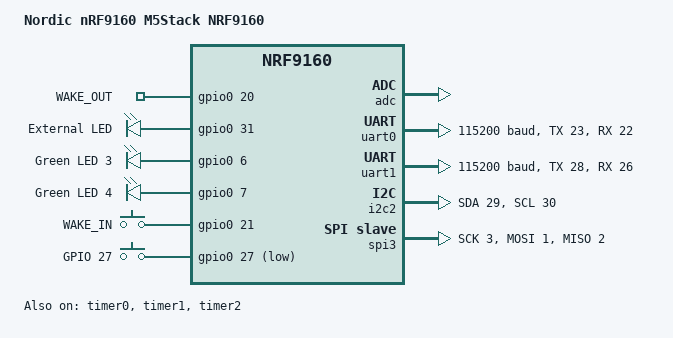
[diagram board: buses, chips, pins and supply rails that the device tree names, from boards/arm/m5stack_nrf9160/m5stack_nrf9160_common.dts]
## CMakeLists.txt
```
#
# Copyright (c) 2020 Nordic Semiconductor
#
# SPDX-License-Identifier: LicenseRef-BSD-5-Clause-Nordic
#

cmake_minimum_required(VERSION 3.13.1)

set(BOARD_ROOT ${CMAKE_SOURCE_DIR})
set(ZEPHYR_EXTRA_MODULES 
    ${CMAKE_SOURCE_DIR}/lib/sipf
)

find_package(Zephyr REQUIRED HINTS $ENV{ZEPHYR_BASE})
project(sipf-nrf91-std)

target_sources(app PRIVATE
    src/main.c
    src/cmd.c
    src/cmd_ascii.c
    src/registers.c
    src/uart_broker.c
    src/xmodem.c
    src/fota/fota_http.c
    src/gnss/gnss.c
)

target_include_directories(app PRIVATE
    include/
)

if(SIPF_ENVIRONMENT STREQUAL "production")
    message("Set -Werror")
    zephyr_library_compile_options("-Werror")
endif()
if(SIPF_ENVIRONMENT STREQUAL "staging")
    message("Set -Werror")
    zephyr_library_compile_options("-Werror")
endif()
```

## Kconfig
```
#
# Copyright (c) 2021 SAKURA internet Inc.
#
# SPDX-License-Identifier: MIT
#

menu "SIPF standard client"

config SIPF_APP_TYPE
	int "Application type"

config SIPF_APP_VER_MAJOR
	int "Application Major version" 

config SIPF_APP_VER_MINOR
	int "Application Minor version" 

config SIPF_APP_VER_RELEASE
	int "Application Release version" 

config SIPF_FOTA_HOST
	string "Application update host name"
	help
	  Host part of URL to application update binary. For example
	  if the file is stored in http://foo.bar/update.bin the value
	  of this configuration should be 'foo.bar'

config SIPF_FOTA_PATH
	string "Application update file name"
	help
	  File part of URL to application update binary. For example
	  if the file is stored in http://foo.bar/update.bin the value
	  of this configuration should be 'update.bin'

config SIPF_FOTA_TLS
	bool "Enable SSL for FOTA client."

endmenu

menu "Zephyr Kernel"
source "Kconfig.zephyr"
endmenu

module = FOTA
module-str = Firmware over the Air
source "subsys/logging/Kconfig.template.log_config"

module = GNSS
module-str = GNSS
source "subsys/logging/Kconfig.template.log_config"
```

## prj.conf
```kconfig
CONFIG_BSD_LIBRARY=y
CONFIG_BSD_LIBRARY_SYS_INIT=n

CONFIG_NEWLIB_LIBC=y
CONFIG_NEWLIB_LIBC_FLOAT_PRINTF=y

CONFIG_NETWORKING=y
CONFIG_NET_SOCKETS=y
CONFIG_NET_SOCKETS_POSIX_NAMES=y
CONFIG_NET_NATIVE=n

CONFIG_HEAP_MEM_POOL_SIZE=4096
CONFIG_MAIN_STACK_SIZE=4096

CONFIG_MODEM_KEY_MGMT=y
CONFIG_LTE_PDP_CMD=y
CONFIG_LTE_LINK_CONTROL=y
CONFIG_AT_CMD=y
CONFIG_AT_NOTIF=y
CONFIG_LTE_AUTO_INIT_AND_CONNECT=n

CONFIG_NRF_MODEM_LIB=y
CONFIG_NRF_MODEM_LIB_SYS_INIT=n

CONFIG_CONSOLE=y
CONFIG_UART_CONSOLE=y

## Modem Info
CONFIG_MODEM_INFO=y
# Reboot
CONFIG_REBOOT=y
# Application Upgrade support
CONFIG_BOOTLOADER_MCUBOOT=y
# FOTA library
CONFIG_FOTA_DOWNLOAD=y
CONFIG_FOTA_DOWNLOAD_PROGRESS_EVT=y
# Download client
CONFIG_DOWNLOAD_CLIENT=y
CONFIG_DOWNLOAD_CLIENT_STACK_SIZE=4096
# DFU Target
CONFIG_DFU_TARGET=y
# Image manager
CONFIG_IMG_MANAGER=y
CONFIG_FLASH=y
CONFIG_IMG_ERASE_PROGRESSIVELY=y

# HTTP
CONFIG_HTTP_CLIENT=y
CONFIG_BASE64=y

# GNSS
CONFIG_SUPL_CLIENT_LIB=n
CONFIG_LTE_NETWORK_MODE_LTE_M_GPS=y

# PMS (Required for GNSS)
CONFIG_LTE_PSM_REQ_RPTAU="00000110"
CONFIG_LTE_PSM_REQ_RAT="00000010"

## Logging ##

CONFIG_LOG=y
CONFIG_LOG_RUNTIME_FILTERING=y
CONFIG_LOG_BUFFER_SIZE=2048
CONFIG_LOG_PRINTK=y
CONFIG_LOG_PROCESS_TRIGGER_THRESHOLD=0
CONFIG_LOG_BACKEND_UART=n
CONFIG_LOG_BACKEND_RTT=y
CONFIG_USE_SEGGER_RTT=y

# Application Log Levels

#CONFIG_SIPF_LOG_LEVEL_DBG=y
#CONFIG_SIPF_LOG_LEVEL_INF=y
CONFIG_SIPF_LOG_LEVEL_ERR=y

#CONFIG_FOTA_LOG_LEVEL_DBG=y
#CONFIG_FOTA_LOG_LEVEL_INF=y
CONFIG_FOTA_LOG_LEVEL_ERR=y

#CONFIG_GNSS_LOG_LEVEL_DBG=y
#CONFIG_GNSS_LOG_LEVEL_INF=y
CONFIG_GNSS_LOG_LEVEL_ERR=y

## SIPF standard client ## 
CONFIG_SIPF_APP_TYPE=0
CONFIG_SIPF_APP_VER_MAJOR=0
CONFIG_SIPF_APP_VER_MINOR=1
CONFIG_SIPF_APP_VER_RELEASE=0

#production
CONFIG_SIPF_AUTH_HOST="auth.sipf.iot.sakura.ad.jp"
CONFIG_SIPF_AUTH_PATH="/v0/session_key"

CONFIG_SIPF_CONNECTOR_HTTP_HOST="connector.sipf.iot.sakura.ad.jp"
CONFIG_SIPF_CONNECTOR_PATH="/v0"

CONFIG_SIPF_FOTA_HOST="ota.sipf.iot.sakura.ad.jp"
CONFIG_SIPF_FOTA_PATH="v0/sipf-std-client_latest.bin"

#develop
#CONFIG_SIPF_AUTH_HOST="auth.sipf-dev.iot.sakura.ad.jp"
#CONFIG_SIPF_AUTH_PATH="/v0/session_key"

#CONFIG_SIPF_CONNECTOR_HTTP_HOST="connector.sipf-dev.iot.sakura.ad.jp"
#CONFIG_SIPF_CONNECTOR_PATH="/v0"

#CONFIG_SIPF_FOTA_HOST="ota.sipf-dev.iot.sakura.ad.jp"
#CONFIG_SIPF_FOTA_PATH="v0/sipf-std-client_latest.bin"
```

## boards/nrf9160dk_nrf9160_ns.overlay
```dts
/ {
	aliases {
		led-hb = &led0;
		led-pw = &led1;
		led-cn = &led2;
		wake-in = &button0;
	};
};
```

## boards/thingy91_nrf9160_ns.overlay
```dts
/ {
	aliases {
		led-hb = &sense_red_led;
		led-pw = &sense_green_led;
		led-cn = &sense_blue_led;
		wake-in = &button0;
	};
};
```

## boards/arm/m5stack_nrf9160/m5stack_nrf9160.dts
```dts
/*
 * Copyright (c) 2018-2020 Nordic Semiconductor ASA
 *
 * SPDX-License-Identifier: Apache-2.0
 */

/dts-v1/;
#include <nordic/nrf9160_sica.dtsi>
#include "m5stack_nrf9160_common.dts"

/ {
	chosen {
		zephyr,sram = &sram0_s;
		zephyr,flash = &flash0;
		zephyr,code-partition = &slot0_partition;
		zephyr,sram-secure-partition = &sram0_s;
		zephyr,sram-non-secure-partition = &sram0_ns;
	};
};
```

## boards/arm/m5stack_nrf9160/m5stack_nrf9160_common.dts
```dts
/*
 * Copyright (c) 2018-2020 Nordic Semiconductor ASA
 *
 * SPDX-License-Identifier: Apache-2.0
 */

/ {
	model = "Nordic nRF9160 M5Stack NRF9160";
	compatible = "nordic,nrf9160-dk-nrf9160";

	chosen {
		zephyr,console = &uart0;
		zephyr,shell-uart = &uart0;
		zephyr,uart-mcumgr = &uart0;
	};

	leds {
		compatible = "gpio-leds";
		led0: led_0 {
			gpios = <&gpio0 20 0>;
			label = "WAKE_OUT";
		};
		led1: led_1 {
			gpios = <&gpio0 31 0>;
			label = "External LED";
		};
		led2: led_2 {
			gpios = <&gpio0 6 0>;
			label = "Green LED 3";
		};
		led3: led_3 {
			gpios = <&gpio0 7 0>;
			label = "Green LED 4";
		};
	};

	buttons {
		compatible = "gpio-keys";
		button0: button_0 {
			gpios = <&gpio0 21 (GPIO_PULL_DOWN | GPIO_ACTIVE_HIGH)>;
			label = "WAKE_IN";
		};
/*
		button1: button_1 {
			gpios = <&gpio0 26 (GPIO_PULL_UP | GPIO_ACTIVE_LOW)>;
			label = "GPIO 26";
		};
*/
		button2: button_2 {
			gpios = <&gpio0 27 (GPIO_PULL_UP | GPIO_ACTIVE_LOW)>;
			label = "GPIO 27";
		};
/*
		button3: button_3 {
			gpios = <&gpio0 28 (GPIO_PULL_UP | GPIO_ACTIVE_LOW)>;
			label = "GPIO 28";
		};
*/
	};

	/* These aliases are provided for compatibility with samples */
	aliases {
		led0 = &led0;
		led1 = &led1;
		led2 = &led2;
		led3 = &led3;
		sw0 = &button2;
/*		sw1 = &button3;*/
		sw2 = &button0;
/*		sw3 = &button1;*/
	};
};

&adc {
	status = "okay";
};

&gpiote {
	status = "okay";
};

&gpio0 {
	status = "okay";
};

&uart0 {
	status = "okay";
	current-speed = <115200>;
	tx-pin = <23>;
	rx-pin = <22>;
	rts-pin = <25>;
	cts-pin = <24>;
};

&uart1 {
	status = "okay";
	current-speed = <115200>;
	tx-pin = <28>;
	rx-pin = <26>;
};

&i2c2 {
	compatible = "nordic,nrf-twis";
	status = "okay";
	sda-pin = <29>;
	scl-pin = <30>;
	address-0 = <0x30>;
};

&spi3 {
	compatible = "nordic,nrf-spis";
	status = "okay";
	sck-pin = <3>;
	mosi-pin = <1>;
	miso-pin = <2>;
	csn-pin = <4>;
	def-char = <0x20>;
};

&timer0 {
	status = "okay";
};

&timer1 {
	status = "okay";
};

&timer2 {
	status = "okay";
};

&flash0 {
	/*
	 * For more information, see:
	 * http://docs.zephyrproject.org/latest/guides/dts/index.html#flash-partitions
	 */
	partitions {
		compatible = "fixed-partitions";
		#address-cells = <1>;
		#size-cells = <1>;

		boot_partition: partition@0 {
			label = "mcuboot";
			reg = <0x00000000 0x10000>;
		};
		slot0_partition: partition@10000 {
			label = "image-0";
		};
		slot0_ns_partition: partition@40000 {
			label = "image-0-nonsecure";
		};
		slot1_partition: partition@80000 {
			label = "image-1";
		};
		slot1_ns_partition: partition@b0000 {
			label = "image-1-nonsecure";
		};
		scratch_partition: partition@f0000 {
			label = "image-scratch";
			reg = <0x000f0000 0xa000>;
		};
		storage_partition: partition@fa000 {
			label = "storage";
			reg = <0x000fa000 0x00006000>;
		};
	};
};

/ {

	reserved-memory {
		#address-cells = <1>;
		#size-cells = <1>;
		ranges;

		sram0_s: image_s@20000000 {
			/* Secure image memory */
		};

		sram0_bsd: image_bsd@20010000 {
			/* BSD (shared) memory */
		};

		sram0_ns: image_ns@20020000 {
			/* Non-Secure image memory */
		};
	};
};

/* Include partition configuration file */
#include "m5stack_nrf9160_partition_conf.dts"
```

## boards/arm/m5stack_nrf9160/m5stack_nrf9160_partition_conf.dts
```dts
/*
 * Copyright (c) 2018-2020 Nordic Semiconductor ASA
 *
 * SPDX-License-Identifier: Apache-2.0
 */

/*
 * Default Flash planning for m5stack_nrf9160.
 *
 * Zephyr build for nRF9160 with ARM TrustZone-M support,
 * implies building Secure and Non-Secure Zephyr images.
 *
 * Secure image will be placed, by default, in flash0
 * (or in slot0, if MCUboot is present).
 * Secure image will use sram0 for system memory.
 *
 * Non-Secure image will be placed in slot0_ns, and use
 * sram0_ns for system memory.
 *
 * Note that the Secure image only requires knowledge of
 * the beginning of the Non-Secure image (not its size).
 */

&slot0_partition {
	reg = <0x00010000 0x30000>;
};

&slot0_ns_partition {
	reg = <0x00040000 0x40000>;
};

&slot1_partition {
	reg = <0x00080000 0x30000>;
};

&slot1_ns_partition {
	reg = <0x000b0000 0x40000>;
};

/* Default SRAM planning when building for nRF9160 with
 * ARM TrustZone-M support
 * - Lowest 64 kB SRAM allocated to Secure image (sram0_s).
 * - 64 kB SRAM reserved for and used by the BSD socket
 *   library (sram0_bsd).
 * - Upper 128 kB allocated to Non-Secure image (sram0_ns).
 */

&sram0_s {
	reg = <0x20000000 DT_SIZE_K(64)>;
};

&sram0_bsd {
	reg = <0x20010000 DT_SIZE_K(64)>;
};

&sram0_ns {
	reg = <0x20020000 DT_SIZE_K(128)>;
};
```

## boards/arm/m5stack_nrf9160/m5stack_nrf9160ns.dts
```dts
/*
 * Copyright (c) 2018-2020 Nordic Semiconductor ASA
 *
 * SPDX-License-Identifier: Apache-2.0
 */

/dts-v1/;
#include <nordic/nrf9160ns_sica.dtsi>
#include "m5stack_nrf9160_common.dts"

/ {
	chosen {
		zephyr,flash = &flash0;
		zephyr,sram = &sram0_ns;
		zephyr,code-partition = &slot0_ns_partition;
	};
};
```

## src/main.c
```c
/*
 * Copyright (c) 2020 Nordic Semiconductor ASA
 *
 * SPDX-License-Identifier: LicenseRef-BSD-5-Clause-Nordic
 */

#include <stdlib.h>
#include <string.h>
#include <zephyr/kernel.h>

#include <nrf_modem_at.h>
#include <modem/at_monitor.h>
#include <modem/lte_lc.h>
#include <modem/modem_info.h>
#include <modem/modem_key_mgmt.h>
#include <modem/nrf_modem_lib.h>
#include <modem/pdn.h>
#include <zephyr/net/socket.h>
#include <zephyr/net/tls_credentials.h>
#include <zephyr/logging/log.h>

#include <zephyr/drivers/gpio.h>
#include <zephyr/sys/reboot.h>

#include "cmd.h"
#include "fota/fota_http.h"
#include "sipf/sipf_client_http.h"
#include "sipf/sipf_auth.h"
#include "gnss/gnss.h"
#include "uart_broker.h"

#include "registers.h"
#include "version.h"

LOG_MODULE_REGISTER(sipf, CONFIG_SIPF_LOG_LEVEL);

/** peripheral **/
#define LED_HEARTBEAT_MS (500)

static const struct gpio_dt_spec LED1 = GPIO_DT_SPEC_GET(DT_ALIAS(led_hb), gpios);
static const struct gpio_dt_spec LED2 = GPIO_DT_SPEC_GET(DT_ALIAS(led_pw), gpios);
static const struct gpio_dt_spec LED3 = GPIO_DT_SPEC_GET(DT_ALIAS(led_cn), gpios);
#ifdef CONFIG_BOARD_SCM_LTEM1NRF_NRF9160_NS
static const struct gpio_dt_spec WAKE_IN = GPIO_DT_SPEC_GET(DT_ALIAS(wake_in), gpios);
#endif
/**********/

/** TLS **/
#define TLS_SEC_TAG 42
static const char cert[] = {
#include "sipf/cert/sipf.iot.sakura.ad.jp"
};
BUILD_ASSERT(sizeof(cert) < KB(4), "Certificate too large");
/*********/

static K_SEM_DEFINE(lte_connected, 0, 1);
static const struct device *uart_dev;

/* Auth info */
#define SZ_USER_NAME (255)
#define SZ_PASSWORD (255)
static char user_name[SZ_USER_NAME];
static char password[SZ_PASSWORD];

/* Initialize AT communications */
int at_comms_init(void)
{
    return 0;
}

#ifdef CONFIG_BOARD_SCM_LTEM1NRF_NRF9160_NS
static struct gpio_callback gpio_cb;

void wake_in_assert(const struct device *gpiob, struct gpio_callback *cb, uint32_t pins)
{
    //リブート要求
    UartBrokerPrint("RESET_REQ_DETECT\r\n");
    sys_reboot(SYS_REBOOT_COLD);
}

static int wake_in_init(void)
{
    int ret;
    ret = gpio_pin_configure_dt(&WAKE_IN, GPIO_INPUT);
    if (ret == 0) {
        gpio_init_callback(&gpio_cb, wake_in_assert, BIT(WAKE_IN.pin));
        ret = gpio_add_callback(WAKE_IN.port, &gpio_cb);
        if (ret == 0) {
            gpio_pin_interrupt_configure_dt(&WAKE_IN, GPIO_INT_EDGE_TO_ACTIVE);
        }
    }

    return 0;
}
#else
static int wake_in_init(void)
{
    return 0;
}
#endif

/** LED **/
static int led_init(void)
{
    int ret;

    /* Initialize LED1  */
	if (!gpio_is_ready_dt(&LED1)) {
		LOG_ERR("LED1 gpio is not ready");
	}
    ret = gpio_pin_configure_dt(&LED1, GPIO_OUTPUT_ACTIVE);
    LOG_DBG("gpio_pin_configure(%d): %d", 1, ret);
    ret = gpio_pin_set_dt(&LED1, 0x00);
    LOG_DBG("gpio_pin_set(%d): %d", 1, ret);

    /* Initialize LED2  */
	if (!gpio_is_ready_dt(&LED2)) {
		LOG_ERR("LED1 gpio is not ready");
	}
    ret = gpio_pin_configure_dt(&LED2, GPIO_OUTPUT_ACTIVE);
    LOG_DBG("gpio_pin_configure(%d): %d", 2, ret);
    ret = gpio_pin_set_dt(&LED2, 0x00);
    LOG_DBG("gpio_pin_set(%d): %d", 2, ret);

    /* Initialize LED3  */
	if (!gpio_is_ready_dt(&LED3)) {
		LOG_ERR("LED1 gpio is not ready");
	}
    ret = gpio_pin_configure_dt(&LED3, GPIO_OUTPUT_ACTIVE);
    LOG_DBG("gpio_pin_configure(%d): %d", 3, ret);
    ret = gpio_pin_set_dt(&LED3, 0x00);
    LOG_DBG("gpio_pin_set(%d): %d", 3, ret);

    return 0;
}

static int led_on(gpio_pin_t pin)
{
    switch(pin) {
        case 1:
            gpio_pin_set_dt(&LED1, 0x01);
            break;
        case 2:
            gpio_pin_set_dt(&LED2, 0x01);
            break;
        case 3:
            gpio_pin_set_dt(&LED3, 0x01);
            break;
        default:
            LOG_ERR("Invald LED %d", pin);
            return 1;
            break;
    }
    return 0;
}

static int led_off(gpio_pin_t pin)
{
    switch(pin) {
        case 1:
            gpio_pin_set_dt(&LED1, 0x00);
            break;
        case 2:
            gpio_pin_set_dt(&LED2, 0x00);
            break;
        case 3:
            gpio_pin_set_dt(&LED3, 0x00);
            break;
        break;
            LOG_ERR("Invald LED %d", pin);
            return 1;
            break;
    }
    return 0;
}

static int led1_toggle(void)
{
    static int val = 0;
    gpio_pin_set_dt(&LED1, val);
    val = (val == 0) ? 1 : 0;
    return 0;
}
/***********/

/** MODEM **/
#define REGISTER_TIMEOUT_MS (120000)
#define REGISTER_TRY (3)

static int cert_provision(void)
{
    int err;
    bool exists;

    err = modem_key_mgmt_exists(TLS_SEC_TAG, MODEM_KEY_MGMT_CRED_TYPE_CA_CHAIN, &exists);
    if (err) {
        LOG_ERR("Failed to check for certificates err %d", err);
        return err;
    }

    if (exists) {
        /* For the sake of simplicity we delete what is provisioned
         * with our security tag and reprovision our certificate.
         */
        err = modem_key_mgmt_delete(TLS_SEC_TAG, MODEM_KEY_MGMT_CRED_TYPE_CA_CHAIN);
        if (err) {
            LOG_ERR("Failed to delete existing certificate, err %d", err);
        }
    }

    LOG_DBG("Provisioning certificate");

    /*  Provision certificate to the modem */
    err = modem_key_mgmt_write(TLS_SEC_TAG, MODEM_KEY_MGMT_CRED_TYPE_CA_CHAIN, cert, sizeof(cert) - 1);
    if (err) {
        LOG_ERR("Failed to provision certificate, err %d", err);
        return err;
    }

    return 0;
}

static void lte_handler(const struct lte_lc_evt *const evt)
{
    LOG_DBG("evt->type=%d", evt->type);
    switch (evt->type) {
    case LTE_LC_EVT_NW_REG_STATUS:
        LOG_DBG("- evt->nw_reg_status=%d\n", evt->nw_reg_status);
        if (evt->nw_reg_status == LTE_LC_NW_REG_SEARCHING) {
            UartBrokerPrint("SEARCHING\r\n");
            break;
        }
        if ((evt->nw_reg_status == LTE_LC_NW_REG_REGISTERED_HOME) || (evt->nw_reg_status == LTE_LC_NW_REG_REGISTERED_ROAMING)) {
            UartBrokerPrint("REGISTERD\r\n");
            k_sem_give(&lte_connected);
            break;
        }
        break;
    case LTE_LC_EVT_CELL_UPDATE:
        LOG_DBG("- mcc=%d, mnc=%d", evt->cell.mcc, evt->cell.mnc);
        break;
    case LTE_LC_EVT_LTE_MODE_UPDATE:
        LOG_DBG("- evt->lte_mode=%d", evt->lte_mode);
        break;
    case LTE_LC_EVT_MODEM_EVENT:
        LOG_DBG("- evt->modem_evt=%d", evt->modem_evt);
        break;
    default:
        break;
    }
}

static int init_modem_and_lte(void)
{
    int err = 0;

    err = nrf_modem_lib_init();
    if (err) {
        LOG_ERR("Failed to initialize modem library!");
        return err;
    }

    /* Initialize AT comms in order to provision the certificate */
    err = at_comms_init();
    if (err) {
        LOG_ERR("Faild to at_comms_init(): %d", err);
        return err;
    }

    /* Provision certificates before connecting to the LTE network */
    err = cert_provision();
    if (err) {
        LOG_ERR("Faild to cert_provision(): %d", err);
        return err;
    }

    err = lte_lc_system_mode_set(LTE_LC_SYSTEM_MODE_LTEM_GPS, LTE_LC_SYSTEM_MODE_PREFER_AUTO);
    if (err) {
        LOG_ERR("Failed to System Mode set.");
        return err;
    }
    LOG_DBG("Setting system mode OK");

    err = nrf_modem_at_printf("AT%%XMAGPIO=1,0,0,1,1,1574,1577");
    if (err != 0) {
        LOG_ERR("Failed to set XMAGPIO, err %d", err);
        return err;
    }
    LOG_DBG("Configure MAGPIO OK");

    err = nrf_modem_at_printf("AT%%XCOEX0=1,1,1565,1586");
    if (err != 0) {
        LOG_ERR("Failed to set XCOEX0, err %d", err);
        return err;
    }
    LOG_DBG("Configure pin OK");

    /* PDN */
    uint8_t cid;
    err = pdn_ctx_create(&cid, NULL);
    if (err != 0) {
        LOG_ERR("Failed to pdn_ctx_create(), err %d", err);
        return err;
    }
    // set APN
    err = pdn_ctx_configure(cid, "sakura", PDN_FAM_IPV4, NULL);
    if (err != 0) {
        LOG_ERR("Failed to pdn_ctx_configure(), err %d", err);
        return err;
    }
    LOG_DBG("Setting APN OK");

    /* CONNECT */
    for (int i = 0; i < REGISTER_TRY; i++) {
        LOG_DBG("Initialize LTE");
        err = lte_lc_init();
        if (err) {
            LOG_ERR("Failed to initializes the modem, err %d", err);
            return err;
        }
        LOG_DBG("Initialize LTE OK");

        lte_lc_modem_events_enable();

        LOG_INF("[%d] Trying to attach to LTE network (TIMEOUT: %d ms)", i, REGISTER_TIMEOUT_MS);
        UartBrokerPrint("Trying to attach to LTE network (TIMEOUT: %d ms)\r\n", REGISTER_TIMEOUT_MS);
        err = lte_lc_connect_async(lte_handler);
        if (err) {
            LOG_ERR("Failed to attatch to the LTE network, err %d", err);
            return err;
        }
        err = k_sem_take(&lte_connected, K_MSEC(REGISTER_TIMEOUT_MS));
        if (err == -EAGAIN) {
            UartBrokerPrint("TIMEOUT\r\n");
            lte_lc_offline();
            lte_lc_deinit();
            continue;
        } else if (err == 0) {
            // connected

            // PSMの設定
            err = lte_lc_psm_req(true);
            if (err) {
                LOG_ERR("PSM request failed, error: %d", err);
            } else {
                LOG_DBG("PSM is enabled");
            }

            // ICCIDの取得
            struct modem_param_info mpi;

            err = modem_info_init();
            if (err == 0) {
                if (modem_info_params_init(&mpi) == 0) {
                    if (modem_info_params_get(&mpi) == 0) {
                        UartBrokerPrint("ICCID: %s\r\n", mpi.sim.iccid.value_string);
                    }
                }
            } else {
                LOG_ERR("modem_info_init() failed, err: %d", err);
            }

            return 0;
        } else {
            //
            return err;
        }
    }

    LOG_ERR("Faild to attach to LTE Network");
    return -1;
}
/**********/

int main(void)
{
    int err;

    int64_t ms_now, ms_timeout;

    // 対ユーザーMUCのレジスタ初期化
    RegistersReset();

    // UartBrokerの初期化(以降、Debug系の出力も可能)
    uart_dev =  DEVICE_DT_GET(DT_NODELABEL(uart0));
    UartBrokerInit(uart_dev);
    UartBrokerPrint("*** SIPF Client(Type%02x) v.%d.%d.%d ***\r\n", *REG_CMN_FW_TYPE, *REG_CMN_VER_MJR, *REG_CMN_VER_MNR, *REG_CMN_VER_REL);
#ifdef CONFIG_LTE_LOCK_PLMN
    UartBrokerPuts("* PLMN: " CONFIG_LTE_LOCK_PLMN_STRING "\r\n");
#endif
#ifdef CONFIG_SIPF_AUTH_DISABLE_SSL
    UartBrokerPuts("* Disable SSL, AUTH endpoint.\r\n");
#endif
#ifdef CONFIG_SIPF_CONNECTOR_DISABLE_SSL
    UartBrokerPuts("* Disable SSL, CONNECTOR endpoint.\r\n");
#endif
    // LEDの初期化
    led_init();
    led_on(2);

    // WAKE_INの初期化
    wake_in_init();

    //モデムの初期化&LTE接続
    err = init_modem_and_lte();
    if (err) {
        LOG_ERR("init_modem_and_lte() failed... err: %d", err);
        led_off(2);
        return -1;
    }

    // GNSSの初期化
    if (gnss_init() != 0) {
        UartBrokerPuts("Failed to initialize GNSS peripheral\r\n");
    }

#if CONFIG_DFU_TARGET_MCUBOOT
    // LTEつながるならOKなFWよね
    boot_write_img_confirmed();
#else
    #error "CONFIG_DFU_TARGET_MCUBOOT is disabled..."
#endif

    // 認証モードをSIM認証にする
    uint8_t b, prev_auth_mode = 0x01;
    *REG_00_MODE = 0x01;

    for (;;) {
        err = SipfAuthRequest(user_name, sizeof(user_name), password, sizeof(user_name));
        LOG_DBG("SipfAuthRequest(): %d", err);
        if (err < 0) {
            // IPアドレス認証に失敗した
            UartBrokerPuts("Set AuthMode to `SIM Auth' faild...(Retry after 10s)\r\n");
            *REG_00_MODE = 0x00; // モードが切り替えられなかった
            k_sleep(K_MSEC(10000));
            continue;
        }
        break;
    }
    err = SipfClientHttpSetAuthInfo(user_name, password);
    if (err < 0) {
        // 認証情報の設定に失敗した
        *REG_00_MODE = 0x00; // モードが切り替えられなかった
    }

    UartBrokerPuts("+++ Ready +++\r\n");
    led_on(3);
    ms_timeout = k_uptime_get() + LED_HEARTBEAT_MS;
    for (;;) {
        while (UartBrokerGetByte(&b) == 0) {
            CmdResponse *cr = CmdParse(b);
            if (cr != NULL) {
                // UARTにレスポンスを返す
                UartBrokerPut(cr->response, cr->response_len);
            }
        }

        // Heart Beat
        ms_now = k_uptime_get();
        if ((ms_timeout - ms_now) < 0) {
            ms_timeout = ms_now + LED_HEARTBEAT_MS;
            led1_toggle();
        }

        if ((*REG_00_MODE == 0x01) && (prev_auth_mode == 0x00)) {
            // 認証モードがIPアドレス認証に切り替えられた
            err = SipfAuthRequest(user_name, sizeof(user_name), password, sizeof(user_name));
            LOG_DBG("SipfAuthRequest(): %d", err);
            if (err < 0) {
                // IPアドレス認証に失敗した
                *REG_00_MODE = 0x00; // モードが切り替えられなかった
            }

            err = SipfClientHttpSetAuthInfo(user_name, password);
            if (err < 0) {
                // 認証情報の設定に失敗した
                *REG_00_MODE = 0x00; // モードが切り替えられなかった
            }
        }
        prev_auth_mode = *REG_00_MODE;

        k_sleep(K_MSEC(1));
    }
}
```

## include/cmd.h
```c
/*
 * Copyright (c) 2021 SAKURA internet Inc.
 *
 * SPDX-License-Identifier: MIT
 */
#include <stdint.h>
#define CMD_BUFF_SZ 4096

typedef enum { CMD_STATE_WAIT = 0, CMD_STATE_BUFFERING_ASCII, CMD_STATE_BUFFERING_BIN, _CMD_STATE_CNT_ } CmdState;

typedef struct
{
    uint8_t *response;
    uint16_t response_len;
} CmdResponse;

CmdResponse *CmdParse(uint8_t b);
```

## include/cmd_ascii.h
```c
/*
 * Copyright (c) 2021 SAKURA internet Inc.
 *
 * SPDX-License-Identifier: MIT
 */
#ifndef CMD_ASCII_H
#define CMD_ASCII_H

#include <stdint.h>

#define CMD_REG_W "W"
#define CMD_REG_R "R"

#define CMD_TX "$TX"
#define CMD_RX "$RX"
#define CMD_TXRAW "$TXRAW"
#define CMD_FPUT "$FPUT"
#define CMD_FGET "$FGET"
#define CMD_UNLOCK "$UNLOCK"
#define CMD_UPDATE "$UPDATE"

#define CMD_GNSS_ENABLE "$GNSSEN"
#define CMD_GNSS_GET_STATUS "$GNSSSTAT"
#define CMD_GNSS_GET_LOCATION "$GNSSLOC"
#define CMD_GNSS_GET_NMEA "$GNSSNMEA"

#define CMD_RES_OK (0)
#define CMD_RES_ILLPARM (-1)
#define CMD_RES_CMDFAIL (-2)
#define CMD_RES_LOCKED (-3)

int CmdAsciiParse(uint8_t *in_buff, uint16_t in_buff_len, uint8_t *out_buff, uint16_t out_buff_len);

#endif
```

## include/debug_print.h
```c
/*
 * Copyright (c) 2021 Sakura Internet Inc.
 *
 * SPDX-License-Identifier: MIT
 */
#ifndef DEBUG_PRINT_H
#define DEBUG_PRINT_H

#define DBG "DBG:"
#define INFO "INFO:"
#define WARN "WARN:"
#define ERR "ERR:"

#ifdef CONFIG_SIPF_DEBUG_PRINT
#include "uart_broker.h"

//#define DebugPrint(...) PRINT(__VA_ARGS__)
#define DebugPrint(...)                                                                                                                                                                                                                                                                                                                                                                                                                                                                                                                                                                                                                                                                                                                                                                                                                                                                                                                                                                                                                \
  {                                                                                                                                                                                                                                                                                                                                                                                                                                                                                                                                                                                                                                                                                                                                                                                                                                                                                                                                                                                                                                    \
    char dp_msg[256];                                                                                                                                                                                                                                                                                                                                                                                                                                                                                                                                                                                                                                                                                                                                                                                                                                                                                                                                                                                                                  \
    int dp_len = sprintf(dp_msg, __VA_ARGS__);                                                                                                                                                                                                                                                                                                                                                                                                                                                                                                                                                                                                                                                                                                                                                                                                                                                                                                                                                                                         \
    UartBrokerPut((uint8_t *)dp_msg, dp_len);                                                                                                                                                                                                                                                                                                                                                                                                                                                                                                                                                                                                                                                                                                                                                                                                                                                                                                                                                                                          \
  }
#else
#define DebugPrint(...)
#endif

#endif
```

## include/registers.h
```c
/*
 * Copyright (c) 2021 SAKURA internet Inc.
 *
 * SPDX-License-Identifier: MIT
 */
#ifndef _REGISTERS_H_
#define _REGISTERS_H_

#include "version.h"
#include <stdint.h>
#include <string.h>

extern uint8_t bank00[240];
#define REG_00_MODE (uint8_t *)&bank00[0x00]
#define REG_00_UN_LEN (uint8_t *)&bank00[0x10]
#define REG_00_USER_NAME (char *)&bank00[0x20]
#define REG_00_PW_LEN (uint8_t *)&bank00[0x80]
#define REG_00_PASSWORD (char *)&bank00[0x90]

extern uint8_t reg_common[16];
#define REG_CMN_FW_TYPE (uint8_t *)&reg_common[0x0]
#define REG_CMN_VER_MJR (uint8_t *)&reg_common[0x1]
#define REG_CMN_VER_MNR (uint8_t *)&reg_common[0x2]
#define REG_CMN_VER_REL (uint16_t *)&reg_common[0x3]
#define REG_CMN_BANK (uint8_t *)&reg_common[0xf]

int RegistersReset(void);
int RegistersWrite(const uint8_t addr, const uint8_t value);
int RegistersRead(const uint8_t addr, uint8_t *value);

#endif
```

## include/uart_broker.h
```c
/*
 * Copyright (c) 2021 SAKURA internet Inc.
 *
 * SPDX-License-Identifier: MIT
 */
#ifndef _UART_BROKER_H_
#define _UART_BROKER_H_

#include <stdint.h>
#include <stdbool.h>
#include <stdio.h>

#include <zephyr/drivers/uart.h>

#define UART_TX_BUF_SZ (256)
#define UART_RX_BUF_SZ (1024)

int UartBrokerInit(const struct device *uart);
int UartBrokerTerm(void);
bool UartBrokerSetEcho(bool echo);

int UartBrokerPutByte(uint8_t byte);
int UartBrokerPut(uint8_t *data, int len);
int UartBrokerGetByte(uint8_t *byte);
int UartBrokerGetByteTm(uint8_t *byte, int timeout_ms);
int UartBrokerGet(uint8_t *data, int len);

int UartBrokerPuts(const char *msg);

void UartBrokerClearRecveiveQueue(void);

#define UartBrokerPrint(...)                                                                                                                                                                                                                                                                                                                                                                                                                                                                                                                                                                                                                                                                                                                                                                                                                                                                                                                                                                                                           \
    {                                                                                                                                                                                                                                                                                                                                                                                                                                                                                                                                                                                                                                                                                                                                                                                                                                                                                                                                                                                                                                  \
        char msg[140];                                                                                                                                                                                                                                                                                                                                                                                                                                                                                                                                                                                                                                                                                                                                                                                                                                                                                                                                                                                                                 \
        int len = sprintf(msg, __VA_ARGS__);                                                                                                                                                                                                                                                                                                                                                                                                                                                                                                                                                                                                                                                                                                                                                                                                                                                                                                                                                                                           \
        UartBrokerPut((uint8_t *)msg, len);                                                                                                                                                                                                                                                                                                                                                                                                                                                                                                                                                                                                                                                                                                                                                                                                                                                                                                                                                                                            \
    }

#endif
```

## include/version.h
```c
#ifndef _VERSION_H_
#define _VERSION_H_

#define FW_TYPE CONFIG_SIPF_APP_TYPE

#define VER_MJR CONFIG_SIPF_APP_VER_MAJOR
#define VER_MNR CONFIG_SIPF_APP_VER_MINOR
#define VER_REL CONFIG_SIPF_APP_VER_RELEASE

#endif
```

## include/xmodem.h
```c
/*
 * Copyright (c) 2022 SAKURA internet Inc.
 *
 * SPDX-License-Identifier: MIT
 */
#ifndef _XMODEM_H_
#define _XMODEM_H_

#define XMODEM_SZ_BLOCK (128)

typedef enum xmodem_recv_ret {
    XMODEM_RECV_RET_OK,
    XMODEM_RECV_RET_FINISHED,
    XMODEM_RECV_RET_CANCELED,
    XMODEM_RECV_RET_RETRY,
    XMODEM_RECV_RET_DUP,
    XMODEM_RECV_RET_FAILED = -1,
    XMODEM_RECV_RET_TIMEOUT = -2,
} XmodemRecvRet;

typedef enum xmodem_send_ret {
    XMODEM_SEND_RET_OK,
    XMODEM_SEND_RET_RETRY,
    XMODEM_SEND_RET_CANCELED,
    XMODEM_SEND_RET_FAILED = -1,
    XMODEM_SEND_RET_TIMEOUT = -2,
} XmodemSendRet;

void XmodemBegin(void);
void XmodemEnd(void);

int XmodemTransmitCancel(void);

int XmodemReceiveStart(void);
XmodemRecvRet XmodemReceiveBlock(uint8_t *bn, uint8_t *block, int time_out);
int XmodemReceiveReqNextBlock(void);
int XmodemReceiveReqCurrentBlock(void);

XmodemSendRet XmodemSendWaitRequest(int time_out);
XmodemSendRet XmodemSendEnd(int time_out);
XmodemSendRet XmodemSendBlock(uint8_t *bn, uint8_t *payload, int sz_payload, int time_out);
#endif
```

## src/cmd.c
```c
/*
 * Copyright (c) 2021 SAKURA internet Inc.
 *
 * SPDX-License-Identifier: MIT
 */

#include <stdio.h>
#include <string.h>
#include <zephyr/logging/log.h>

LOG_MODULE_DECLARE(sipf);

#include "cmd.h"
#include "cmd_ascii.h"

static CmdState state = CMD_STATE_WAIT;
static uint8_t in_buff[CMD_BUFF_SZ];
static int in_buff_idx;
static uint8_t out_buff[CMD_BUFF_SZ];
static int out_len;

static CmdResponse cmdres;

typedef CmdResponse *(*state_func)(uint8_t b);

static CmdResponse *stateWait(uint8_t b)
{
    if (b == (uint8_t)'$') {
        memset(in_buff, 0, CMD_BUFF_SZ);
        in_buff_idx = 0;
        state = CMD_STATE_BUFFERING_ASCII;
    }
    return NULL;
}

static CmdResponse *stateBufferingAscii(uint8_t b)
{
    if ((b == 0x0a) || (b == 0x0d)) {
        state = CMD_STATE_WAIT;
        // 改行がきたらコマンド終端
        out_len = CmdAsciiParse(in_buff, in_buff_idx, out_buff, sizeof(out_buff));
        if (out_len > 0) {
            cmdres.response = out_buff;
            cmdres.response_len = out_len;
            return &cmdres; // コマンドの応答を返す
        } else {
            // out_lenが1byteもない=返すべき応答が無い
            return NULL;
        }
    } else if (b == 0x08 /*BS*/) {
        // バックスペースだったらインデックスを戻す
        if (in_buff_idx == 0) {
            // バッファの先頭だったらコマンド待ちへ遷移する
            state = CMD_STATE_WAIT;
        }
        in_buff_idx--;
    } else {
        // バッファに追加
        in_buff[in_buff_idx++] = b;
        if (in_buff_idx > sizeof(in_buff)) {
            // バッファオーバー
            state = CMD_STATE_WAIT;
            LOG_ERR("CMD BUFFER FULL");
            cmdres.response_len = sprintf((char *)out_buff, "\r\nNG\r\n");
            cmdres.response = out_buff;
            return &cmdres;
        }
    }
    return NULL;
}

static state_func bufunc[] = {
    stateWait,           /* STATE_WAIT */
    stateBufferingAscii, /* STATE_BUFFERING_ASCII */
    NULL,                /* STATE_BUFFERING_BIN */
    NULL,                /* (terminator) */
};

CmdResponse *CmdParse(uint8_t b)
{
    CmdResponse *cr = NULL;
    // DebugPrint("b: 0x%02x, state:%d\r\n", b, state);
    if (bufunc[state] != NULL) {
        cr = bufunc[state](b);
    }
    return cr;
}
```

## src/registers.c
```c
/*
 * Copyright (c) 2021 SAKURA internet Inc.
 *
 * SPDX-License-Identifier: MIT
 */
#include "registers.h"

typedef int (*reset_reg)();
typedef int (*write_reg)(const uint8_t addr, const uint8_t value);
typedef int (*read_reg)(const uint8_t addr, uint8_t *value);
typedef struct
{
    reset_reg reset;
    write_reg write;
    read_reg read;
} RegistersBankFuncs;

uint8_t reg_common[] = {
    FW_TYPE, VER_MJR, VER_MNR, VER_REL & 0xff, VER_REL >> 8, 0x00, 0x00, 0x00, 0x00, 0x00, 0x00, 0x00, 0x00, 0x00, 0x00,
    0x00 // REG_BANK
};

/* BANK00 */
uint8_t bank00[240];
static int bank00_reset(void)
{
    memset(bank00, 0, sizeof(bank00));
    return 0;
}
static int bank00_write(const uint8_t addr, const uint8_t value)
{
    if (addr >= 0xf0) {
        //共通レジスタに書こうとした
        return -1;
    }
    bank00[addr] = value;
    return value;
}
static int bank00_read(const uint8_t addr, uint8_t *value)
{
    if (addr >= 0xf0) {
        //共通レジスタを読もうとした
        return -1;
    }
    *value = bank00[addr];
    return *value;
}
/**/

/**
 * バンクリスト
 */
static RegistersBankFuncs bank_func[] = {{bank00_reset, bank00_write, bank00_read}, {NULL, NULL, NULL}};

/* 共通レジスタ */
/**
 * 共通レジスタ書き込み
 */
static int reg_common_write(const uint8_t addr, const uint8_t value)
{
    if (addr != 0xf0) {
        // バンク選択以外は読み取り専用
        return -1;
    }

    // バンク選択
    int banks = sizeof(bank_func) / sizeof(RegistersBankFuncs);
    if ((value + 1) > banks) {
        // 選択不能なバンクを選択しようとした
        return -1;
    }
    if (bank_func[value].read == NULL) {
        // 選択不能なバンクを選択しようとした
        return -1;
    }
    *REG_CMN_BANK = value;
    return value;
}
/**
 * 共通レジスタ読み出し
 */
static int reg_common_read(const uint8_t addr, uint8_t *value)
{
    if (addr < 0xf0) {
        return -1;
    }
    *value = reg_common[addr - 0xf0];
    return *value;
}
/**/

/**
 * レジスタの初期化
 */
int RegistersReset(void)
{
    for (int i = 0; i < (sizeof(bank_func) / sizeof(RegistersBankFuncs)); i++) {
        if (bank_func[i].reset) {
            bank_func[i].reset();
        }
    }
    return 0;
}

/**
 * レジスタ書き込み
 */
int RegistersWrite(const uint8_t addr, const uint8_t value)
{
    if (addr >= 0xf0) {
        return reg_common_write(addr, value);
    } else {
        return bank_func[*REG_CMN_BANK].write(addr, value);
    }
}

/**
 * レジスタ読み込み
 */
int RegistersRead(const uint8_t addr, uint8_t *value)
{
    if (addr >= 0xf0) {
        return reg_common_read(addr, value);
    } else {
        return bank_func[*REG_CMN_BANK].read(addr, value);
    }
}
```

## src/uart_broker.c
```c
/*
 * Copyright (c) 2021 SAKURA internet Inc.
 *
 * SPDX-License-Identifier: MIT
 */

#include <stdbool.h>
#include <stdint.h>
#include <string.h>

#include <zephyr/kernel.h>
#include <zephyr/drivers/uart.h>

#include "uart_broker.h"

#define PRIORITY (7)
#define STACK_UB_SZ (1024)

static uint8_t tx_buff[UART_TX_BUF_SZ];
static uint8_t rx_buff[UART_RX_BUF_SZ];

static bool is_echo = true;
K_MUTEX_DEFINE(mutex_is_echo);

static struct k_msgq msgq_tx, msgq_rx;

K_THREAD_STACK_DEFINE(stack_ub, STACK_UB_SZ);
static struct k_thread thread_ub;
static k_tid_t tid_ub;

static void uart_broker_fifo_cb(const struct device *uart, void *user_data)
{
    ARG_UNUSED(user_data);

    if (uart_irq_update(uart) != 1) {
        return;
    }

    if (uart_irq_rx_ready(uart) == 1) {
        bool e;
        uint8_t b;
        uart_fifo_read(uart, &b, 1);
        k_msgq_put(&msgq_rx, &b, K_NO_WAIT);
        // ECHO BACK
        k_mutex_lock(&mutex_is_echo, K_FOREVER);
        e = is_echo;
        k_mutex_unlock(&mutex_is_echo);
        if (e) {
            uart_poll_out(uart, b); // ECHO BACK
        }
    }
}

static void uart_broker_thread(void *dev, void *arg2, void *arg3)
{
    const struct device *uart = (struct device *)dev;
    uint8_t b;

    uart_irq_callback_set(uart, uart_broker_fifo_cb);
    uart_irq_rx_enable(uart);

    for (;;) {
        // TX
        while (k_msgq_get(&msgq_tx, &b, K_USEC(1)) == 0) {
            // 送信キューになにか入ってた
            uart_poll_out(uart, b);
        }
    }
}

/** Interface **/
int UartBrokerPutByte(uint8_t byte)
{
    return k_msgq_put(&msgq_tx, &byte, K_MSEC(10));
}

int UartBrokerPut(uint8_t *data, int len)
{
    int cnt = 0;
    int ret;
    for (int i = 0; i < len; i++) {
        ret = UartBrokerPutByte(data[i]);
        if (ret != 0) {
            break;
        }
        cnt++;
    }
    return cnt;
}

int UartBrokerPuts(const char *msg)
{
    return UartBrokerPut((uint8_t *)msg, strlen(msg));
}

int UartBrokerGetByte(uint8_t *byte)
{
    return k_msgq_get(&msgq_rx, byte, K_MSEC(1));
}

int UartBrokerGetByteTm(uint8_t *byte, int timeout_ms)
{
    return k_msgq_get(&msgq_rx, byte, K_MSEC(timeout_ms));
}

void UartBrokerClearRecveiveQueue(void)
{
    k_msgq_purge(&msgq_rx);
}

int UartBrokerGet(uint8_t *data, int len)
{
    int cnt = 0;
    int ret;
    for (int i = 0; i < len; i++) {
        ret = UartBrokerGetByte(&data[i]);
        if (ret != 0) {
            break;
        }
        cnt++;
    }
    return cnt;
}

int UartBrokerInit(const struct device *uart)
{
    // 送受信キュー作成
    k_msgq_init(&msgq_tx, tx_buff, 1, UART_TX_BUF_SZ);
    k_msgq_init(&msgq_rx, rx_buff, 1, UART_RX_BUF_SZ);

    // スレッド作成
    tid_ub = k_thread_create(&thread_ub, stack_ub, STACK_UB_SZ, uart_broker_thread, (void *)uart, NULL, NULL, PRIORITY, 0, K_NO_WAIT);
    k_thread_name_set(tid_ub, "uart broker");
    k_thread_start(&thread_ub);

    return 0;
}

int UartBrokerTerm(void)
{
    return 0;
}

bool UartBrokerSetEcho(bool echo)
{
    k_mutex_lock(&mutex_is_echo, K_FOREVER);
    is_echo = echo;
    k_mutex_unlock(&mutex_is_echo);
    return echo;
}
```
